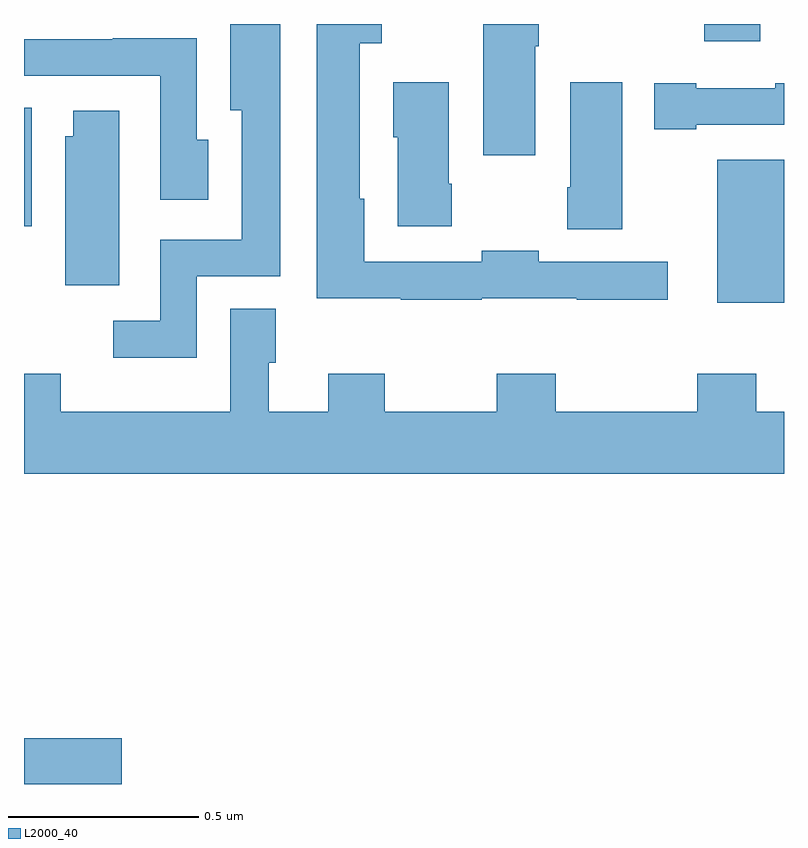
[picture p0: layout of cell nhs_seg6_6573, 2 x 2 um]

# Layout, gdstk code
import gdstk
lib = gdstk.Library(unit=1e-6, precision=1e-09)
def R(c, l, rs):  # rectangles x0, y0, x1, y1
    for r in rs: c.add(gdstk.rectangle(r[:2], r[2:], *l))
def P(c, l, *ps):  # polygons
    for p in ps: c.add(gdstk.Polygon(p, *l))
L2000_40 = (2000, 40)

nhs_seg6_6573 = lib.new_cell('nhs_seg6_6573')
R(nhs_seg6_6573, L2000_40, [(197,966.5,197.257,966.62), (198.824,967.766,199,968.143), (197,967.968,197.02,968.279), (198.79,968.454,198.937,968.5)])
P(nhs_seg6_6573, L2000_40, [(198.204,967.778),(198.454,967.778),(198.454,967.774),(198.694,967.774),(198.694,967.875),(198.354,967.875),(198.354,967.903),(198.204,967.903),(198.204,967.875),(197.896,967.875),(197.896,968.04),(197.884,968.04),(197.884,968.45),(197.941,968.45),(197.941,968.5),(197.771,968.5),(197.771,967.778),(197.992,967.778),(197.992,967.774),(198.204,967.774)],
  [(198.346,968.441),(198.354,968.441),(198.354,968.5),(198.209,968.5),(198.209,968.154),(198.346,968.154)],
  [(197.454,967.836),(197.674,967.836),(197.674,968.5),(197.543,968.5),(197.543,968.273),(197.573,968.273),(197.573,967.932),(197.358,967.932),(197.358,967.719),(197.235,967.719),(197.235,967.622),(197.454,967.622)],
  [(197.485,968.196),(197.454,968.196),(197.454,968.462),(197.233,968.462),(197.233,968.46),(197,968.46),(197,968.364),(197.358,968.364),(197.358,968.037),(197.485,968.037)],
  [(198.126,968.08),(198.118,968.08),(198.118,968.347),(197.972,968.347),(197.972,968.202),(197.984,968.202),(197.984,967.968),(198.126,967.968)],
  [(198.574,968.347),(198.437,968.347),(198.437,968.071),(198.43,968.071),(198.43,967.96),(198.574,967.96)],
  [(198.769,968.235),(199,968.235),(199,968.344),(198.977,968.344),(198.977,968.331),(198.769,968.331),(198.769,968.344),(198.659,968.344),(198.659,968.223),(198.769,968.223)],
  [(197.251,968.272),(197.129,968.272),(197.129,968.205),(197.108,968.205),(197.108,967.812),(197.251,967.812)],
  [(199,967.48),(198.927,967.48),(198.927,967.579),(198.772,967.579),(198.772,967.48),(198.399,967.48),(198.399,967.579),(198.244,967.579),(198.244,967.48),(197.949,967.48),(197.949,967.579),(197.801,967.579),(197.801,967.48),(197.644,967.48),(197.644,967.608),(197.662,967.608),(197.662,967.751),(197.543,967.751),(197.543,967.48),(197.097,967.48),(197.097,967.579),(197,967.579),(197,967.316),(199,967.316)])

lib.write_gds('nhs_seg6_6573.gds')
